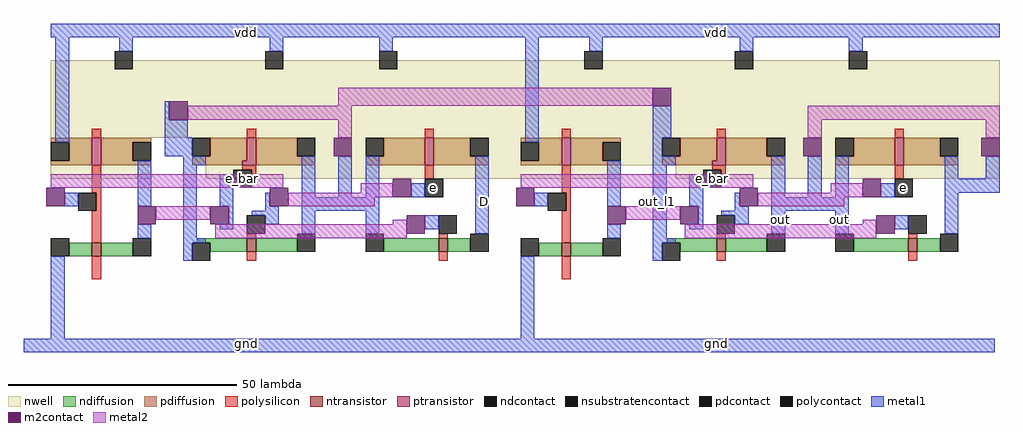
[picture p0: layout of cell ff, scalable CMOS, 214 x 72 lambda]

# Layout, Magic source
magic
tech scmos
<< nwell >>
rect 6 47 214 64
rect 6 38 28 47
rect 37 41 214 47
rect 40 38 131 41
rect 143 38 214 41
<< polysilicon >>
rect 15 47 17 49
rect 49 47 51 49
rect 88 47 90 49
rect 118 47 120 49
rect 152 47 154 49
rect 191 47 193 49
rect 15 35 17 41
rect 48 40 51 41
rect 50 39 51 40
rect 88 38 90 41
rect 16 31 17 35
rect 118 35 120 41
rect 151 40 154 41
rect 153 39 154 40
rect 191 38 193 41
rect 119 31 120 35
rect 15 24 17 31
rect 49 25 51 26
rect 15 16 17 21
rect 91 25 93 26
rect 49 20 51 22
rect 91 20 93 22
rect 118 24 120 31
rect 152 25 154 26
rect 118 16 120 21
rect 194 25 196 26
rect 152 20 154 22
rect 194 20 196 22
<< ndiffusion >>
rect 10 21 15 24
rect 17 21 24 24
rect 38 24 49 25
rect 41 22 49 24
rect 51 22 60 25
rect 79 22 91 25
rect 93 22 98 25
rect 113 21 118 24
rect 120 21 127 24
rect 141 24 152 25
rect 144 22 152 24
rect 154 22 163 25
rect 182 22 194 25
rect 196 22 201 25
<< pdiffusion >>
rect 6 46 15 47
rect 10 42 15 46
rect 6 41 15 42
rect 17 46 28 47
rect 17 42 24 46
rect 17 41 28 42
rect 41 43 49 47
rect 37 42 49 43
rect 51 43 60 47
rect 37 41 48 42
rect 51 41 64 43
rect 79 43 88 47
rect 75 41 88 43
rect 90 43 98 47
rect 90 41 102 43
rect 109 46 118 47
rect 113 42 118 46
rect 109 41 118 42
rect 120 46 131 47
rect 120 42 127 46
rect 120 41 131 42
rect 144 43 152 47
rect 140 42 152 43
rect 154 43 163 47
rect 140 41 151 42
rect 154 41 167 43
rect 182 43 191 47
rect 178 41 191 43
rect 193 43 201 47
rect 193 41 205 43
<< metal1 >>
rect 6 69 214 72
rect 7 46 10 69
rect 21 66 24 69
rect 54 66 57 69
rect 78 66 81 69
rect 31 51 32 55
rect 31 47 36 51
rect 31 43 37 47
rect 9 32 12 35
rect 25 32 28 42
rect 35 41 40 43
rect 25 25 28 28
rect 35 25 38 41
rect 43 32 46 39
rect 45 28 46 32
rect 53 32 54 35
rect 61 34 64 43
rect 69 34 72 43
rect 110 46 113 69
rect 124 66 127 69
rect 157 66 160 69
rect 181 66 184 69
rect 138 47 142 54
rect 75 34 78 43
rect 85 34 88 37
rect 53 31 56 32
rect 50 30 56 31
rect 43 27 46 28
rect 53 28 56 30
rect 61 31 78 34
rect 61 26 64 31
rect 35 24 40 25
rect 6 3 9 21
rect 35 20 37 24
rect 75 26 78 31
rect 88 27 91 30
rect 99 26 102 43
rect 112 32 115 35
rect 128 32 131 42
rect 138 43 140 47
rect 138 41 143 43
rect 128 25 131 28
rect 138 25 141 41
rect 146 32 149 39
rect 148 28 149 32
rect 156 32 157 35
rect 164 34 167 43
rect 172 34 175 43
rect 178 34 181 43
rect 202 38 205 43
rect 211 38 214 43
rect 188 34 191 37
rect 202 35 214 38
rect 156 31 159 32
rect 153 30 159 31
rect 146 27 149 28
rect 156 28 159 30
rect 164 31 181 34
rect 164 26 167 31
rect 138 24 143 25
rect 109 3 112 21
rect 138 20 140 24
rect 178 26 181 31
rect 191 27 194 30
rect 202 26 205 35
rect 0 0 213 3
<< metal2 >>
rect 69 54 138 58
rect 36 51 72 54
rect 69 47 72 51
rect 172 51 214 54
rect 172 47 175 51
rect 211 47 214 51
rect 6 36 57 39
rect 74 35 81 37
rect 58 34 81 35
rect 109 36 160 39
rect 58 32 77 34
rect 177 35 184 37
rect 161 34 184 35
rect 161 32 180 34
rect 29 29 41 32
rect 81 28 84 29
rect 42 25 84 28
rect 132 29 144 32
rect 184 28 187 29
rect 145 25 187 28
<< ntransistor >>
rect 15 21 17 24
rect 49 22 51 25
rect 91 22 93 25
rect 118 21 120 24
rect 152 22 154 25
rect 194 22 196 25
<< ptransistor >>
rect 15 41 17 47
rect 49 42 51 47
rect 48 41 51 42
rect 88 41 90 47
rect 118 41 120 47
rect 152 42 154 47
rect 151 41 154 42
rect 191 41 193 47
<< polycontact >>
rect 46 36 50 40
rect 12 31 16 35
rect 88 34 92 38
rect 149 36 153 40
rect 115 31 119 35
rect 191 34 195 38
rect 49 26 53 30
rect 91 26 95 30
rect 152 26 156 30
rect 194 26 198 30
<< ndcontact >>
rect 6 21 10 25
rect 24 21 28 25
rect 37 20 41 24
rect 60 22 64 26
rect 75 22 79 26
rect 98 22 102 26
rect 109 21 113 25
rect 127 21 131 25
rect 140 20 144 24
rect 163 22 167 26
rect 178 22 182 26
rect 201 22 205 26
<< pdcontact >>
rect 6 42 10 46
rect 24 42 28 46
rect 37 43 41 47
rect 60 43 64 47
rect 75 43 79 47
rect 98 43 102 47
rect 109 42 113 46
rect 127 42 131 46
rect 140 43 144 47
rect 163 43 167 47
rect 178 43 182 47
rect 201 43 205 47
<< m2contact >>
rect 32 51 36 55
rect 68 43 72 47
rect 5 32 9 36
rect 25 28 29 32
rect 41 28 45 32
rect 54 32 58 36
rect 138 54 142 58
rect 81 34 85 38
rect 84 26 88 30
rect 108 32 112 36
rect 171 43 175 47
rect 128 28 132 32
rect 144 28 148 32
rect 157 32 161 36
rect 210 43 214 47
rect 184 34 188 38
rect 187 26 191 30
<< nsubstratencontact >>
rect 20 62 24 66
rect 53 62 57 66
rect 78 62 82 66
rect 123 62 127 66
rect 156 62 160 66
rect 181 62 185 66
<< labels >>
rlabel metal1 49 70 49 70 5 vdd
rlabel metal1 49 2 49 2 1 gnd
rlabel polycontact 48 38 48 38 1 e_bar
rlabel polycontact 90 36 90 36 1 e
rlabel metal1 101 33 101 33 1 D
rlabel polycontact 193 36 193 36 1 e
rlabel metal1 179 29 179 29 3 out
rlabel polycontact 151 38 151 38 1 e_bar
rlabel metal1 152 2 152 2 1 gnd
rlabel metal1 152 70 152 70 5 vdd
rlabel metal1 166 29 166 29 7 out
rlabel metal1 139 33 139 33 1 out_l1
<< end >>
